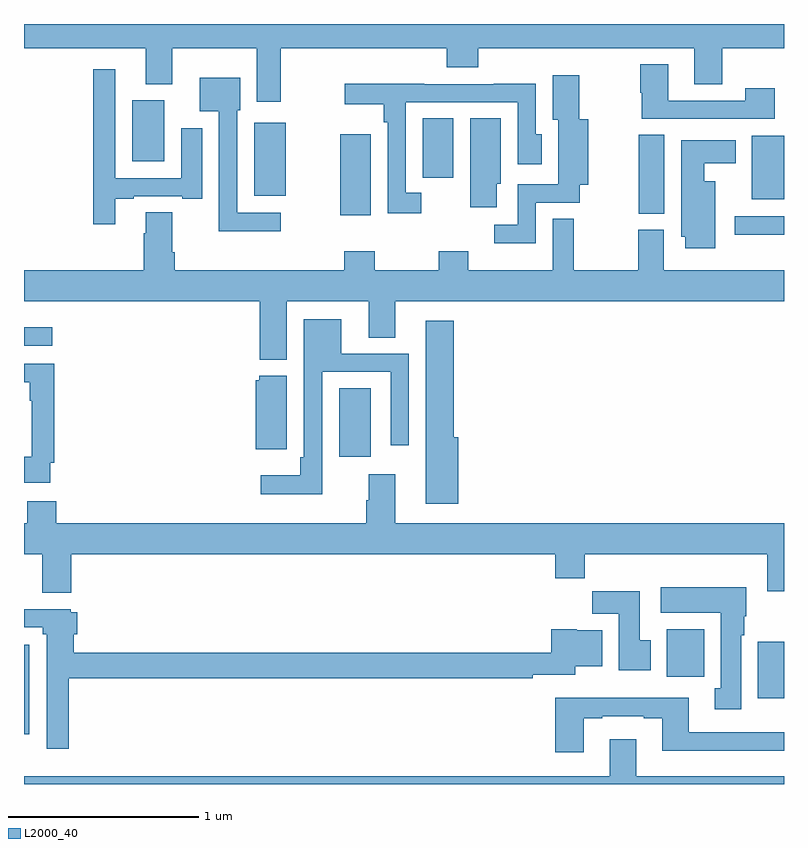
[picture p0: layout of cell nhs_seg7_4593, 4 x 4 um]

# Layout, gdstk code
import gdstk
lib = gdstk.Library(unit=1e-6, precision=1e-09)
def R(c, l, rs):  # rectangles x0, y0, x1, y1
    for r in rs: c.add(gdstk.rectangle(r[:2], r[2:], *l))
def P(c, l, *ps):  # polygons
    for p in ps: c.add(gdstk.Polygon(p, *l))
L2000_40 = (2000, 40)

nhs_seg7_4593 = lib.new_cell('nhs_seg7_4593')
R(nhs_seg7_4593, L2000_40, [(399,1074.262,399.028,1074.733), (402.863,1074.452,403,1074.748), (402.383,1074.564,402.579,1074.814), (400.658,1075.722,400.825,1076.084), (399,1076.307,399.148,1076.404), (402.741,1076.891,403,1076.988), (400.664,1076.994,400.825,1077.421), (402.236,1077.001,402.37,1077.416), (402.83,1077.077,403,1077.412), (400.211,1077.095,400.378,1077.481), (401.099,1077.192,401.26,1077.503), (399.569,1077.278,399.739,1077.598)])
P(nhs_seg7_4593, L2000_40, [(400.352,1077.872),(401.225,1077.872),(401.225,1077.773),(401.39,1077.773),(401.39,1077.872),(402.527,1077.872),(402.527,1077.682),(402.675,1077.682),(402.675,1077.872),(403,1077.872),(403,1078),(399,1078),(399,1077.872),(399.641,1077.872),(399.641,1077.683),(399.781,1077.683),(399.781,1077.872),(400.226,1077.872),(400.226,1077.591),(400.352,1077.591)],
  [(402.952,1077.661),(402.796,1077.661),(402.796,1077.597),(402.391,1077.597),(402.391,1077.787),(402.244,1077.787),(402.244,1077.639),(402.251,1077.639),(402.251,1077.501),(402.952,1077.501)],
  [(399.481,1077.081),(399.577,1077.081),(399.577,1077.093),(399.833,1077.093),(399.833,1077.081),(399.937,1077.081),(399.937,1077.451),(399.827,1077.451),(399.827,1077.189),(399.48,1077.189),(399.48,1077.763),(399.364,1077.763),(399.364,1076.946),(399.481,1076.946)],
  [(401.694,1077.06),(401.924,1077.06),(401.924,1077.155),(401.971,1077.155),(401.971,1077.499),(401.922,1077.499),(401.922,1077.73),(401.783,1077.73),(401.783,1077.497),(401.813,1077.497),(401.813,1077.156),(401.598,1077.156),(401.598,1076.943),(401.475,1076.943),(401.475,1076.846),(401.694,1076.846)],
  [(400.351,1077.006),(400.122,1077.006),(400.122,1077.546),(400.138,1077.546),(400.138,1077.718),(399.926,1077.718),(399.926,1077.542),(400.026,1077.542),(400.026,1076.909),(400.351,1076.909)],
  [(401.092,1077.111),(401.01,1077.111),(401.01,1077.588),(401.598,1077.588),(401.598,1077.261),(401.725,1077.261),(401.725,1077.42),(401.694,1077.42),(401.694,1077.686),(401.473,1077.686),(401.473,1077.684),(401.107,1077.684),(401.107,1077.686),(400.689,1077.686),(400.689,1077.578),(400.894,1077.578),(400.894,1077.482),(400.914,1077.482),(400.914,1077.003),(401.092,1077.003)],
  [(401.488,1077.159),(401.509,1077.159),(401.509,1077.503),(401.348,1077.503),(401.348,1077.036),(401.488,1077.036)],
  [(402.637,1077.172),(402.58,1077.172),(402.58,1077.266),(402.745,1077.266),(402.745,1077.388),(402.458,1077.388),(402.458,1076.88),(402.479,1076.88),(402.479,1076.82),(402.637,1076.82)],
  [(400.384,1076.54),(400.814,1076.54),(400.814,1076.35),(400.954,1076.35),(400.954,1076.54),(403,1076.54),(403,1076.704),(402.367,1076.704),(402.367,1076.916),(402.232,1076.916),(402.232,1076.704),(401.894,1076.704),(401.894,1076.975),(401.783,1076.975),(401.783,1076.704),(401.337,1076.704),(401.337,1076.803),(401.182,1076.803),(401.182,1076.704),(400.845,1076.704),(400.845,1076.803),(400.685,1076.803),(400.685,1076.704),(399.794,1076.704),(399.794,1076.8),(399.781,1076.8),(399.781,1077.008),(399.641,1077.008),(399.641,1076.9),(399.629,1076.9),(399.629,1076.704),(399,1076.704),(399,1076.54),(400.241,1076.54),(400.241,1076.234),(400.384,1076.234)],
  [(400.569,1076.169),(400.929,1076.169),(400.929,1075.782),(401.025,1075.782),(401.025,1076.265),(400.669,1076.265),(400.669,1076.446),(400.473,1076.446),(400.473,1075.72),(400.453,1075.72),(400.453,1075.624),(400.245,1075.624),(400.245,1075.526),(400.569,1075.526)],
  [(401.285,1075.824),(401.261,1075.824),(401.261,1076.437),(401.114,1076.437),(401.114,1075.476),(401.285,1075.476)],
  [(399.138,1075.69),(399.158,1075.69),(399.158,1076.211),(399,1076.211),(399,1076.114),(399.03,1076.114),(399.03,1076.018),(399.042,1076.018),(399.042,1075.723),(399,1075.723),(399,1075.586),(399.138,1075.586)],
  [(400.384,1076.149),(400.239,1076.149),(400.239,1076.124),(400.22,1076.124),(400.22,1075.763),(400.384,1075.763)],
  [(399.095,1075.006),(399.248,1075.006),(399.248,1075.208),(401.795,1075.208),(401.795,1075.084),(401.951,1075.084),(401.951,1075.208),(402.911,1075.208),(402.911,1075.014),(403,1075.014),(403,1075.372),(400.954,1075.372),(400.954,1075.63),(400.814,1075.63),(400.814,1075.493),(400.802,1075.493),(400.802,1075.372),(399.17,1075.372),(399.17,1075.489),(399.017,1075.489),(399.017,1075.372),(399,1075.372),(399,1075.208),(399.095,1075.208)],
  [(402.775,1074.782),(402.79,1074.782),(402.79,1074.882),(402.802,1074.882),(402.802,1075.036),(402.351,1075.036),(402.351,1074.902),(402.668,1074.902),(402.668,1074.505),(402.635,1074.505),(402.635,1074.393),(402.775,1074.393)],
  [(402.298,1074.756),(402.241,1074.756),(402.241,1075.015),(401.992,1075.015),(401.992,1074.896),(402.131,1074.896),(402.131,1074.6),(402.298,1074.6)],
  [(399.236,1074.556),(401.678,1074.556),(401.678,1074.576),(401.902,1074.576),(401.902,1074.62),(402.043,1074.62),(402.043,1074.808),(401.91,1074.808),(401.91,1074.814),(401.774,1074.814),(401.774,1074.692),(399.263,1074.692),(399.263,1074.789),(399.281,1074.789),(399.281,1074.903),(399.246,1074.903),(399.246,1074.921),(399,1074.921),(399,1074.825),(399.098,1074.825),(399.098,1074.789),(399.12,1074.789),(399.12,1074.186),(399.236,1074.186)],
  [(401.947,1074.345),(402.043,1074.345),(402.043,1074.357),(402.263,1074.357),(402.263,1074.345),(402.359,1074.345),(402.359,1074.176),(403,1074.176),(403,1074.273),(402.499,1074.273),(402.499,1074.454),(401.795,1074.454),(401.795,1074.168),(401.947,1074.168)],
  [(403,1074.04),(402.223,1074.04),(402.223,1074.235),(402.083,1074.235),(402.083,1074.04),(399,1074.04),(399,1074),(403,1074)])

lib.write_gds('nhs_seg7_4593.gds')
